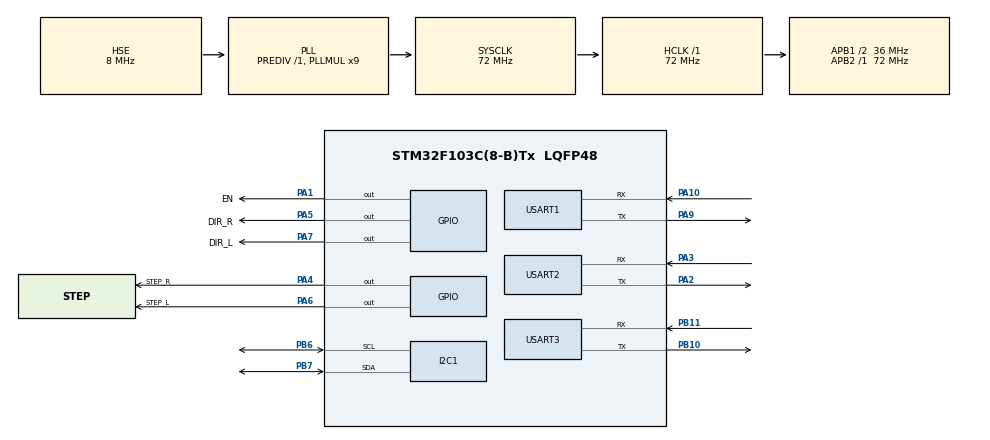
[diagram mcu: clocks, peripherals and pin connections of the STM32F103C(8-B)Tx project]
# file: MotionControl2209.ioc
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I2C1.DutyCycle=I2C_DUTYCYCLE_16_9
I2C1.I2C_Mode=I2C_Fast
Mcu.Family=STM32F1
Mcu.Name=STM32F103C(8-B)Tx
Mcu.Package=LQFP48
NVIC.PriorityGroup=NVIC_PRIORITYGROUP_4
NVIC.TIM2_IRQn=true\:0\:0\:false\:false\:true\:true\:true\:true
NVIC.USART1_IRQn=true\:0\:0\:false\:false\:true\:true\:true\:true
PA1.GPIO_Label=EN
PA1.Signal=GPIO_Output
PA10.Mode=Asynchronous
PA10.Signal=USART1_RX
PA13.Mode=Serial_Wire
PA13.Signal=SYS_JTMS-SWDIO
PA14.Mode=Serial_Wire
PA14.Signal=SYS_JTCK-SWCLK
PA2.Mode=Asynchronous
PA2.Signal=USART2_TX
PA3.Mode=Asynchronous
PA3.Signal=USART2_RX
PA4.GPIO_Label=STEP_R
PA4.GPIO_Speed=GPIO_SPEED_FREQ_HIGH
PA4.Signal=GPIO_Output
PA5.GPIO_Label=DIR_R
PA5.Signal=GPIO_Output
PA6.GPIO_Label=STEP_L
PA6.GPIO_Speed=GPIO_SPEED_FREQ_HIGH
PA6.Signal=GPIO_Output
PA7.GPIO_Label=DIR_L
PA7.Signal=GPIO_Output
PA9.Mode=Asynchronous
PA9.Signal=USART1_TX
PB10.Mode=Asynchronous
PB10.Signal=USART3_TX
PB11.Mode=Asynchronous
PB11.Signal=USART3_RX
PB6.Mode=I2C
PB6.Signal=I2C1_SCL
PB7.Mode=I2C
PB7.Signal=I2C1_SDA
PD0-OSC_IN.Mode=HSE-External-Oscillator
PD0-OSC_IN.Signal=RCC_OSC_IN
PD1-OSC_OUT.Mode=HSE-External-Oscillator
PD1-OSC_OUT.Signal=RCC_OSC_OUT
ProjectManager.HeapSize=0x200
ProjectManager.StackSize=0x400
ProjectManager.TargetToolchain=STM32CubeIDE
RCC.AHBFreq_Value=72000000
RCC.APB1CLKDivider=RCC_HCLK_DIV2
RCC.APB1Freq_Value=36000000
RCC.APB1TimFreq_Value=72000000
RCC.APB2Freq_Value=72000000
RCC.APB2TimFreq_Value=72000000
RCC.HCLKFreq_Value=72000000
RCC.PLLMUL=RCC_PLL_MUL9
RCC.PLLSourceVirtual=RCC_PLLSOURCE_HSE
RCC.SYSCLKFreq_VALUE=72000000
RCC.SYSCLKSource=RCC_SYSCLKSOURCE_PLLCLK
RCC.USBFreq_Value=72000000
TIM2.Period=100
TIM2.Prescaler=71
USART1.VirtualMode=VM_ASYNC
USART2.VirtualMode=VM_ASYNC
USART3.VirtualMode=VM_ASYNC
VP_TIM2_VS_ClockSourceINT.Mode=Internal
board=custom

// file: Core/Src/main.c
/* USER CODE BEGIN Header */
/**
 ******************************************************************************
 * @file           : main.c
 * @brief          : ROS-Style Velocity Control (Differential Drive) + BNO055
 ******************************************************************************
 */
/* USER CODE END Header */
#include "main.h"

/* USER CODE BEGIN Includes */
#include <string.h>
#include <stdlib.h>
#include <stdio.h>
#include <math.h>
/* USER CODE END Includes */

/* USER CODE BEGIN PD */
// --- ⚙️ ROBOT CONFIG ---
#define STEPS_PER_MM        10      // ค่าที่คุณจูนแล้ว
#define WHEEL_BASE_MM       295.0f  // ความกว้างฐานล้อ (mm)
#define MAX_SPEED_MM_S      600.0f  // จำกัดความเร็วสูงสุด
#define ACCEL               2.0f    // ความเร่ง (Ramp) ยิ่งน้อยยิ่งนิ่ม (0.1 - 5.0)

// UART Buffer
#define RX_BUFFER_SIZE      64

// --- BNO055 Config ---
#define BNO055_I2C_ADDR         (0x28 << 1)
#define BNO055_CONFIG_MODE      0x00
#define BNO055_IMU_MODE         0x08  // โหมด IMU (Gyro + Accel) ตัดแม่เหล็กออกกันกวน
#define BNO055_OPR_MODE_ADDR    0x3D
#define BNO055_EULER_H_LSB_ADDR 0x1A
#define BNO055_CALIB_DATA_ADDR  0x55
/* USER CODE END PD */

I2C_HandleTypeDef hi2c1;

TIM_HandleTypeDef htim2;

UART_HandleTypeDef huart1;
UART_HandleTypeDef huart2; //debug
UART_HandleTypeDef huart3;

/* USER CODE BEGIN PV */
uint8_t rx_buffer[RX_BUFFER_SIZE];
uint8_t rx_byte;
uint8_t rx_index = 0;
volatile uint8_t cmd_ready = 0;

// --- ROS-Style Variables ---
float target_v = 0;      // Linear Velocity (mm/s)  [เดินหน้า-ถอยหลัง]
float target_w = 0;      // Angular Velocity (diff) [เลี้ยวซ้าย-ขวา]

float current_v_L = 0;   // ความเร็วปัจจุบันล้อซ้าย
float current_v_R = 0;   // ความเร็วปัจจุบันล้อขวา

// Timing Variables
uint32_t last_step_time_L = 0;
uint32_t last_step_time_R = 0;
uint32_t last_update_time = 0;

// IMU Variables
float robot_heading = 0.0f;   // มุมสะสม (Heading) จาก BNO055

uint32_t last_cmd_time = 0;
uint8_t is_timeout = 0;

// 🔥 เอาค่า 22 ตัวที่ดูดมาได้ มาใส่แทนที่ตรงนี้นะครับ 🔥
uint8_t saved_calib_profile[22] = { 0x00, 0x00, 0x00, 0x00, 0x00, 0x00, 0x00,
		0x00, 0x00, 0x00, 0x00, 0x00, 0x00, 0x00, 0x00, 0x00, 0x00, 0x00, 0x00,
		0x00, 0x00, 0x00 };
/* USER CODE END PV */

void SystemClock_Config(void);
static void MX_GPIO_Init(void);
static void MX_USART1_UART_Init(void);
static void MX_USART3_UART_Init(void);
static void MX_USART2_UART_Init(void);
static void MX_TIM2_Init(void);
static void MX_I2C1_Init(void);
/* USER CODE BEGIN PFP */
void Parse_Command(char *cmd);
void TMC2209_Init(void);
void BNO055_Init(void);
void BNO055_ReadEuler(void);
/* USER CODE END PFP */

/* USER CODE BEGIN 0 */

void Force_UART3_GPIO_Init(void) {
	GPIO_InitTypeDef GPIO_InitStruct = { 0 };

	__HAL_RCC_GPIOB_CLK_ENABLE();
	__HAL_RCC_USART3_CLK_ENABLE();

	GPIO_InitStruct.Pin = GPIO_PIN_10;
	GPIO_InitStruct.Mode = GPIO_MODE_AF_PP;
	GPIO_InitStruct.Speed = GPIO_SPEED_FREQ_HIGH;
	HAL_GPIO_Init(GPIOB, &GPIO_InitStruct);
}

// --- 🕒 TIME KEEPER ---
void DWT_Init(void) {
	if (!(CoreDebug->DEMCR & CoreDebug_DEMCR_TRCENA_Msk)) {
		CoreDebug->DEMCR |= CoreDebug_DEMCR_TRCENA_Msk;
		DWT->CYCCNT = 0;
		DWT->CTRL |= DWT_CTRL_CYCCNTENA_Msk;
	}
}

uint32_t micros(void) {
	return DWT->CYCCNT / 72; // 72MHz
}

// --- 🏎️ KINEMATICS ENGINE ---
void Run_Motors_Loop(void) {
	float target_v_L = target_v - target_w;
	float target_v_R = target_v + target_w;

	if (micros() - last_update_time > 1000) {
		last_update_time = micros();

		if (current_v_L < target_v_L)
			current_v_L += ACCEL;
		if (current_v_L > target_v_L)
			current_v_L -= ACCEL;
		if (abs(current_v_L - target_v_L) < ACCEL)
			current_v_L = target_v_L;

		if (current_v_R < target_v_R)
			current_v_R += ACCEL;
		if (current_v_R > target_v_R)
			current_v_R -= ACCEL;
		if (abs(current_v_R - target_v_R) < ACCEL)
			current_v_R = target_v_R;
	}

	if (abs(current_v_L) > 5.0f) {
		HAL_GPIO_WritePin(DIR_L_GPIO_Port, DIR_L_Pin,
				(current_v_L > 0) ? GPIO_PIN_SET : GPIO_PIN_RESET);
		uint32_t step_delay = (uint32_t) (1000000.0f
				/ (abs(current_v_L) * STEPS_PER_MM));
		if (micros() - last_step_time_L >= step_delay) {
			last_step_time_L = micros();
			HAL_GPIO_WritePin(STEP_L_GPIO_Port, STEP_L_Pin, GPIO_PIN_SET);
			for (volatile int i = 0; i < 10; i++)
				__NOP();
			HAL_GPIO_WritePin(STEP_L_GPIO_Port, STEP_L_Pin, GPIO_PIN_RESET);
		}
	}

	if (abs(current_v_R) > 5.0f) {
		HAL_GPIO_WritePin(DIR_R_GPIO_Port, DIR_R_Pin,
				(current_v_R > 0) ? GPIO_PIN_SET : GPIO_PIN_RESET);
		uint32_t step_delay = (uint32_t) (1000000.0f
				/ (abs(current_v_R) * STEPS_PER_MM));
		if (micros() - last_step_time_R >= step_delay) {
			last_step_time_R = micros();
			HAL_GPIO_WritePin(STEP_R_GPIO_Port, STEP_R_Pin, GPIO_PIN_SET);
			for (volatile int i = 0; i < 10; i++)
				__NOP();
			HAL_GPIO_WritePin(STEP_R_GPIO_Port, STEP_R_Pin, GPIO_PIN_RESET);
		}
	}
}

void BNO055_Init(void) {
	uint8_t mode = BNO055_CONFIG_MODE;

	// 1. เข้า Config Mode (เปลี่ยนเป็นวนลูปรอจนกว่าจะตื่นและตอบรับ)
	while(HAL_I2C_Mem_Write(&hi2c1, BNO055_I2C_ADDR, BNO055_OPR_MODE_ADDR, 1, &mode,
			1, 100) != HAL_OK) {
		char msg[] = "WAITING FOR BNO055 TO WAKE UP...\n";
		HAL_UART_Transmit(&huart2, (uint8_t*) msg, strlen(msg), 10);
		HAL_Delay(100);
	}
	HAL_Delay(50);

	// 2. โหลดค่า Calibration Profile
	HAL_I2C_Mem_Write(&hi2c1, BNO055_I2C_ADDR, BNO055_CALIB_DATA_ADDR, 1,
			saved_calib_profile, 22, 100);
	HAL_Delay(50);

	// 3. เข้า IMU Mode
	mode = BNO055_IMU_MODE;
	HAL_I2C_Mem_Write(&hi2c1, BNO055_I2C_ADDR, BNO055_OPR_MODE_ADDR, 1, &mode,
			1, 100);
	HAL_Delay(50);

	char msg[] = "BNO055 READY (IMU MODE & CALIBRATED)\n";
	HAL_UART_Transmit(&huart2, (uint8_t*) msg, strlen(msg), 100);
}

void I2C_ClearBus(void) {
	GPIO_InitTypeDef GPIO_InitStruct = { 0 };

	__HAL_RCC_GPIOB_CLK_ENABLE();

	// เซ็ตขา SCL (PB6) และ SDA (PB7) เป็นโหมดส่งออก (Output Open-Drain) ชั่วคราว
	GPIO_InitStruct.Pin = GPIO_PIN_6 | GPIO_PIN_7;
	GPIO_InitStruct.Mode = GPIO_MODE_OUTPUT_OD;
	GPIO_InitStruct.Pull = GPIO_NOPULL;
	GPIO_InitStruct.Speed = GPIO_SPEED_FREQ_HIGH;
	HAL_GPIO_Init(GPIOB, &GPIO_InitStruct);

	HAL_GPIO_WritePin(GPIOB, GPIO_PIN_7, GPIO_PIN_SET); // ปล่อย SDA ให้เป็น High

	// กระตุ้น Clock (SCL) 9 ครั้ง ทิ้งบิตค้างในเซ็นเซอร์ให้ชิปคายคลื่นออกมา
	for (int i = 0; i < 9; i++) {
		HAL_GPIO_WritePin(GPIOB, GPIO_PIN_6, GPIO_PIN_RESET);
		for(volatile int j=0; j<1000; j++) __NOP(); // หน่วงเวลาเล็กน้อย
		HAL_GPIO_WritePin(GPIOB, GPIO_PIN_6, GPIO_PIN_SET);
		for(volatile int j=0; j<1000; j++) __NOP();
	}

	// สร้างฉากจบ (STOP condition: ให้ SDA ขึ้นตอนที่ SCL เป็น High)
	HAL_GPIO_WritePin(GPIOB, GPIO_PIN_6, GPIO_PIN_RESET);
	for(volatile int j=0; j<1000; j++) __NOP();
	HAL_GPIO_WritePin(GPIOB, GPIO_PIN_7, GPIO_PIN_RESET);
	for(volatile int j=0; j<1000; j++) __NOP();
	HAL_GPIO_WritePin(GPIOB, GPIO_PIN_6, GPIO_PIN_SET);
	for(volatile int j=0; j<1000; j++) __NOP();
	HAL_GPIO_WritePin(GPIOB, GPIO_PIN_7, GPIO_PIN_SET);
	for(volatile int j=0; j<1000; j++) __NOP();
}

void BNO055_ReadEuler(void) {
	uint8_t rx_data[2];
	static uint8_t error_count = 0; // สำหรับนับจำนวนครั้งที่ Error

	if (HAL_I2C_Mem_Read(&hi2c1, BNO055_I2C_ADDR, BNO055_EULER_H_LSB_ADDR,
			I2C_MEMADD_SIZE_8BIT, rx_data, 2, 10) == HAL_OK) {
		int16_t raw_heading = (int16_t) ((rx_data[1] << 8) | rx_data[0]);
		robot_heading = raw_heading / 16.0f;
		error_count = 0; // ถ้าระบบอ่านสำเร็จให้รีเซ็ตตัวนับ
	} else {
		error_count++;
	}

	// ถ้าระบบ I2C ค้าง อ่านไม่ได้ติดต่อกัน 50 รอบ -> สั่งกู้คืนระบบใหม่ (Recovery)
	if (error_count > 50) {
		char msg[] = "I2C ERROR: Hard Resetting I2C Bus...\n";
		HAL_UART_Transmit(&huart2, (uint8_t*) msg, strlen(msg), 10);

		HAL_I2C_DeInit(&hi2c1);  // ปิด I2C เพื่อเคลียร์สถานะเออเร่อ
		HAL_Delay(5);
		I2C_ClearBus();         // เคลียร์สายให้ Slave ปล่อยขา SDA
		HAL_Delay(5);
		MX_I2C1_Init();         // สั่งตั้งค่า I2C ใหม่ (ฟังก์ชันเดิมที่แอตทริคสร้างไว้)
		HAL_Delay(10);
		BNO055_Init();          // สั่ง Config ค่าเริ่มต้นของ BNO055 ใหม่อีกครั้ง
		error_count = 0;
	}
}
/* USER CODE END 0 */

int main(void) {

	/* MCU Configuration--------------------------------------------------------*/

	/* Reset of all peripherals, Initializes the Flash interface and the Systick. */
	HAL_Init();

	/* Configure the system clock */
	SystemClock_Config();

	/* Initialize all configured peripherals */
	MX_GPIO_Init();
	MX_USART1_UART_Init();
	MX_USART3_UART_Init();
	MX_USART2_UART_Init();
	MX_TIM2_Init();
	MX_I2C1_Init();
	/* USER CODE BEGIN 2 */
	HAL_Delay(800); // 💥 เพิ่มเวลาหน่วงให้ BNO055 บูตเสร็จชัวร์ๆ ตอนเปิดเครื่อง

	// เรียกใช้ BNO055 แทน ICM
	BNO055_Init();

	DWT_Init();
	HAL_Delay(1000);

	// เติมบรรทัดนี้เพื่อบังคับเปิดพิน UART3 ให้คุยกับมอเตอร์รู้เรื่อง
	Force_UART3_GPIO_Init();
	TMC2209_Init();

	HAL_GPIO_WritePin(GPIOA, EN_Pin, GPIO_PIN_RESET);

	// Start Receiving
	HAL_UART_Receive_IT(&huart1, &rx_byte, 1);

	char msg[] = "\nROS-STYLE READY (BNO055)\n";
	HAL_UART_Transmit(&huart2, (uint8_t*) msg, strlen(msg), 100);
	/* USER CODE END 2 */

	/* Infinite loop */
	/* USER CODE BEGIN WHILE */
	while (1) {
		if (cmd_ready) {
			cmd_ready = 0;
			Parse_Command((char*) rx_buffer);
		}

		// Watchdog 200ms
		if (HAL_GetTick() - last_cmd_time > 200) {
			if ((target_v != 0 || target_w != 0) && is_timeout == 0) {
				target_v = 0;
				target_w = 0;
				current_v_L = 0;
				current_v_R = 0;
				is_timeout = 1;

				char timeout_msg[] = "WARNING: Signal Lost! Auto Stopped.\n";
				HAL_UART_Transmit(&huart2, (uint8_t*) timeout_msg,
						strlen(timeout_msg), 10);
			}
		}

		// อ่านค่า BNO055 ทุกๆ 10ms
		static uint32_t last_imu_time_loop = 0;
		if (HAL_GetTick() - last_imu_time_loop >= 10) {
			last_imu_time_loop = HAL_GetTick();
			BNO055_ReadEuler();
		}

		// Print Log ออก Debug
		static uint32_t last_print_time = 0;
		if (HAL_GetTick() - last_print_time >= 500) {
			last_print_time = HAL_GetTick();
			char log[64];
			sprintf(log, "Heading: %.2f\n", robot_heading);
			HAL_UART_Transmit(&huart2, (uint8_t*) log, strlen(log), 10);
		}

		// ส่ง Telemetry ไป ESP32 พร้อม Checksum
		static uint32_t last_telemetry = 0;
		if (HAL_GetTick() - last_telemetry > 200) {
			last_telemetry = HAL_GetTick();

			char payload[32];
			sprintf(payload, "A=%.2f", robot_heading);

			uint8_t cs = 0;
			for (int i = 0; i < strlen(payload); i++) {
				cs ^= payload[i];
			}

			char tx_buf[64];
			sprintf(tx_buf, "%s*%02X\n", payload, cs);
			HAL_UART_Transmit(&huart1, (uint8_t*) tx_buf, strlen(tx_buf), 10);
		}

		// ขับมอเตอร์
		Run_Motors_Loop();
		/* USER CODE END WHILE */

	}
}

void SystemClock_Config(void) {
	RCC_OscInitTypeDef RCC_OscInitStruct = { 0 };
	RCC_ClkInitTypeDef RCC_ClkInitStruct = { 0 };

	/** Initializes the RCC Oscillators according to the specified parameters
	 * in the RCC_OscInitTypeDef structure.
	 */
	RCC_OscInitStruct.OscillatorType = RCC_OSCILLATORTYPE_HSE;
	RCC_OscInitStruct.HSEState = RCC_HSE_ON;
	RCC_OscInitStruct.HSEPredivValue = RCC_HSE_PREDIV_DIV1;
	RCC_OscInitStruct.HSIState = RCC_HSI_ON;
	RCC_OscInitStruct.PLL.PLLState = RCC_PLL_ON;
	RCC_OscInitStruct.PLL.PLLSource = RCC_PLLSOURCE_HSE;
	RCC_OscInitStruct.PLL.PLLMUL = RCC_PLL_MUL9;
	if (HAL_RCC_OscConfig(&RCC_OscInitStruct) != HAL_OK) {
		Error_Handler();
	}

	/** Initializes the CPU, AHB and APB buses clocks
	 */
	RCC_ClkInitStruct.ClockType = RCC_CLOCKTYPE_HCLK | RCC_CLOCKTYPE_SYSCLK
			| RCC_CLOCKTYPE_PCLK1 | RCC_CLOCKTYPE_PCLK2;
	RCC_ClkInitStruct.SYSCLKSource = RCC_SYSCLKSOURCE_PLLCLK;
	RCC_ClkInitStruct.AHBCLKDivider = RCC_SYSCLK_DIV1;
	RCC_ClkInitStruct.APB1CLKDivider = RCC_HCLK_DIV2;
	RCC_ClkInitStruct.APB2CLKDivider = RCC_HCLK_DIV1;

	if (HAL_RCC_ClockConfig(&RCC_ClkInitStruct, FLASH_LATENCY_2) != HAL_OK) {
		Error_Handler();
	}
}

static void MX_I2C1_Init(void) {

	hi2c1.Instance = I2C1;
	hi2c1.Init.ClockSpeed = 400000;
	hi2c1.Init.DutyCycle = I2C_DUTYCYCLE_16_9;
	hi2c1.Init.OwnAddress1 = 0;
	hi2c1.Init.AddressingMode = I2C_ADDRESSINGMODE_7BIT;
	hi2c1.Init.DualAddressMode = I2C_DUALADDRESS_DISABLE;
	hi2c1.Init.OwnAddress2 = 0;
	hi2c1.Init.GeneralCallMode = I2C_GENERALCALL_DISABLE;
	hi2c1.Init.NoStretchMode = I2C_NOSTRETCH_DISABLE;
	if (HAL_I2C_Init(&hi2c1) != HAL_OK) {
		Error_Handler();
	}

}

static void MX_TIM2_Init(void) {

	TIM_ClockConfigTypeDef sClockSourceConfig = { 0 };
	TIM_MasterConfigTypeDef sMasterConfig = { 0 };

	htim2.Instance = TIM2;
	htim2.Init.Prescaler = 71;
	htim2.Init.CounterMode = TIM_COUNTERMODE_UP;
	htim2.Init.Period = 100;
	htim2.Init.ClockDivision = TIM_CLOCKDIVISION_DIV1;
	htim2.Init.AutoReloadPreload = TIM_AUTORELOAD_PRELOAD_DISABLE;
	if (HAL_TIM_Base_Init(&htim2) != HAL_OK) {
		Error_Handler();
	}
	sClockSourceConfig.ClockSource = TIM_CLOCKSOURCE_INTERNAL;
	if (HAL_TIM_ConfigClockSource(&htim2, &sClockSourceConfig) != HAL_OK) {
		Error_Handler();
	}
	sMasterConfig.MasterOutputTrigger = TIM_TRGO_RESET;
	sMasterConfig.MasterSlaveMode = TIM_MASTERSLAVEMODE_DISABLE;
	if (HAL_TIMEx_MasterConfigSynchronization(&htim2, &sMasterConfig)
			!= HAL_OK) {
		Error_Handler();
	}

}

static void MX_USART1_UART_Init(void) {

	huart1.Instance = USART1;
	huart1.Init.BaudRate = 115200;
	huart1.Init.WordLength = UART_WORDLENGTH_8B;
	huart1.Init.StopBits = UART_STOPBITS_1;
	huart1.Init.Parity = UART_PARITY_NONE;
	huart1.Init.Mode = UART_MODE_TX_RX;
	huart1.Init.HwFlowCtl = UART_HWCONTROL_NONE;
	huart1.Init.OverSampling = UART_OVERSAMPLING_16;
	if (HAL_UART_Init(&huart1) != HAL_OK) {
		Error_Handler();
	}

}

static void MX_USART2_UART_Init(void) {

	huart2.Instance = USART2;
	huart2.Init.BaudRate = 115200;
	huart2.Init.WordLength = UART_WORDLENGTH_8B;
	huart2.Init.StopBits = UART_STOPBITS_1;
	huart2.Init.Parity = UART_PARITY_NONE;
	huart2.Init.Mode = UART_MODE_TX_RX;
	huart2.Init.HwFlowCtl = UART_HWCONTROL_NONE;
	huart2.Init.OverSampling = UART_OVERSAMPLING_16;
	if (HAL_UART_Init(&huart2) != HAL_OK) {
		Error_Handler();
	}

}

static void MX_USART3_UART_Init(void) {

	huart3.Instance = USART3;
	huart3.Init.BaudRate = 115200;
	huart3.Init.WordLength = UART_WORDLENGTH_8B;
	huart3.Init.StopBits = UART_STOPBITS_1;
	huart3.Init.Parity = UART_PARITY_NONE;
	huart3.Init.Mode = UART_MODE_TX_RX;
	huart3.Init.HwFlowCtl = UART_HWCONTROL_NONE;
	huart3.Init.OverSampling = UART_OVERSAMPLING_16;
	if (HAL_UART_Init(&huart3) != HAL_OK) {
		Error_Handler();
	}

}

static void MX_GPIO_Init(void) {
	GPIO_InitTypeDef GPIO_InitStruct = { 0 };

	/* GPIO Ports Clock Enable */
	__HAL_RCC_GPIOD_CLK_ENABLE();
	__HAL_RCC_GPIOA_CLK_ENABLE();
	__HAL_RCC_GPIOB_CLK_ENABLE();

	/*Configure GPIO pin Output Level */
	HAL_GPIO_WritePin(GPIOA,
			EN_Pin | STEP_R_Pin | DIR_R_Pin | STEP_L_Pin | DIR_L_Pin,
			GPIO_PIN_RESET);

	/*Configure GPIO pins : EN_Pin DIR_R_Pin DIR_L_Pin */
	GPIO_InitStruct.Pin = EN_Pin | DIR_R_Pin | DIR_L_Pin;
	GPIO_InitStruct.Mode = GPIO_MODE_OUTPUT_PP;
	GPIO_InitStruct.Pull = GPIO_NOPULL;
	GPIO_InitStruct.Speed = GPIO_SPEED_FREQ_LOW;
	HAL_GPIO_Init(GPIOA, &GPIO_InitStruct);

	/*Configure GPIO pins : STEP_R_Pin STEP_L_Pin */
	GPIO_InitStruct.Pin = STEP_R_Pin | STEP_L_Pin;
	GPIO_InitStruct.Mode = GPIO_MODE_OUTPUT_PP;
	GPIO_InitStruct.Pull = GPIO_NOPULL;
	GPIO_InitStruct.Speed = GPIO_SPEED_FREQ_HIGH;
	HAL_GPIO_Init(GPIOA, &GPIO_InitStruct);

}

/* USER CODE BEGIN 4 */

// --- TMC Helper Functions ---
uint8_t TMC_CRC8(uint8_t *data, size_t length) {
	uint8_t crc = 0, currentByte;
	for (size_t i = 0; i < length; i++) {
		currentByte = data[i];
		for (int j = 0; j < 8; j++) {
			if ((crc >> 7) ^ (currentByte >> 7))
				crc = (crc << 1) ^ 0x07;
			else
				crc = (crc << 1);
			currentByte <<= 1;
		}
	}
	return crc;
}

void TMC_Write_To_Addr(uint8_t addr, uint8_t reg, uint32_t data) {
	uint8_t tx[8] = { 0x05, addr, reg | 0x80, (data >> 24) & 0xFF, (data >> 16)
			& 0xFF, (data >> 8) & 0xFF, data & 0xFF, 0 };
	tx[7] = TMC_CRC8(&tx[1], 6);
	HAL_UART_Transmit(&huart3, tx, 8, 100);
}

void TMC_Write(uint8_t reg, uint32_t data) {
	TMC_Write_To_Addr(0x00, reg, data);
	HAL_Delay(1);
	TMC_Write_To_Addr(0x01, reg, data);
	HAL_Delay(1);
	TMC_Write_To_Addr(0x02, reg, data);
	HAL_Delay(1);
	TMC_Write_To_Addr(0x03, reg, data);
	HAL_Delay(1);
}
void TMC2209_Init(void) {
	TMC_Write(0x00, 0x00000040); // GCONF (StealthChop)
	HAL_Delay(5);
	TMC_Write(0x6C, 0x14000053); // CHOPCONF
	HAL_Delay(5);
	TMC_Write(0x10, 0x00061C01); // IHOLD_IRUN
	HAL_Delay(5);
}

// --- 🎮 COMMAND PARSER ---
void Parse_Command(char *cmd) {
	char *asterisk = strchr(cmd, '*');
	if (asterisk == NULL)
		return;

	uint8_t calc_cs = 0;
	for (char *p = cmd; p < asterisk; p++) {
		calc_cs ^= *p;
	}

	unsigned int recv_cs;
	if (sscanf(asterisk + 1, "%x", &recv_cs) != 1)
		return;

	if (calc_cs != recv_cs) {
		HAL_UART_Transmit(&huart2, (uint8_t*) "ERR: Noise Detected!\n", 21, 10);
		return;
	}

	*asterisk = '\0';
	char type = cmd[0];

	if (type == 'V' || type == 'S' || type == 'H') {
		last_cmd_time = HAL_GetTick();
		is_timeout = 0;
	}

	if (type == 'H') {
		return;
	}
	if (type == 'V') {
		char *p = strtok(cmd + 2, ",");
		if (p) {
			target_v = atof(p);
			p = strtok(NULL, ",");
			if (p)
				target_w = atof(p);
		}

		char log[64];
		sprintf(log, "CMD: V=%.0f, W=%.0f\n", target_v, target_w);
		HAL_UART_Transmit(&huart2, (uint8_t*) log, strlen(log), 10);
		HAL_UART_Transmit(&huart1, (uint8_t*) "OK\n", 3, 10);
	} else if (type == 'S') {
		target_v = 0;
		target_w = 0;
		current_v_L = 0;
		current_v_R = 0;
		HAL_UART_Transmit(&huart1, (uint8_t*) "STOP\n", 5, 10);
	}
}

// --- UART Interrupt ---
void HAL_UART_RxCpltCallback(UART_HandleTypeDef *huart) {
	if (huart->Instance == USART1) {
		if (rx_byte == '\n' || rx_byte == '\r') {
			if (rx_index > 0) {
				rx_buffer[rx_index] = '\0';
				cmd_ready = 1;
				rx_index = 0;
			}
		} else if (rx_index < RX_BUFFER_SIZE - 1) {
			rx_buffer[rx_index++] = rx_byte;
		}
		HAL_UART_Receive_IT(&huart1, &rx_byte, 1);
	}
}
/* USER CODE END 4 */

void Error_Handler(void) {
	__disable_irq();
	while (1) {
	}
}
